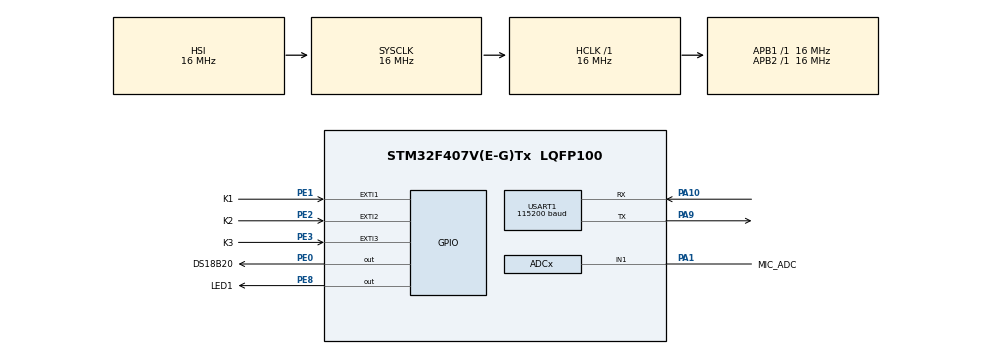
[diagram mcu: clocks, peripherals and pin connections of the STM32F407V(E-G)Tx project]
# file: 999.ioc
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FREERTOS.Tasks01=DataCollectTask,24,512,DataCollectTask,Default,NULL,Dynamic,NULL,NULL
FREERTOS.Tasks02=UartTask,32,384,UartTask,Default,NULL,Dynamic,NULL,NULL
FREERTOS.configCHECK_FOR_STACK_OVERFLOW=2
FREERTOS.configTOTAL_HEAP_SIZE=12288
FREERTOS.configUSE_COUNTING_SEMAPHORES=1
FREERTOS.configUSE_MALLOC_FAILED_HOOK=1
FREERTOS.configUSE_RECURSIVE_MUTEXES=1
Mcu.Family=STM32F4
Mcu.Name=STM32F407V(E-G)Tx
Mcu.Package=LQFP100
NVIC.EXTI15_10_IRQn=true\:5\:0\:true\:false\:true\:true\:true\:true
NVIC.EXTI1_IRQn=true\:5\:0\:true\:false\:true\:true\:true\:true
NVIC.EXTI2_IRQn=true\:5\:0\:true\:false\:true\:true\:true\:true
NVIC.EXTI3_IRQn=true\:5\:0\:true\:false\:true\:true\:true\:true
NVIC.PriorityGroup=NVIC_PRIORITYGROUP_4
NVIC.RTC_WKUP_IRQn=true\:5\:0\:true\:false\:true\:true\:true\:true
NVIC.USART1_IRQn=true\:5\:0\:true\:false\:true\:true\:true\:true
PA1.GPIO_Label=MIC_ADC
PA1.Mode=IN1
PA1.Signal=ADCx_IN1
PA10.Mode=Asynchronous
PA10.Signal=USART1_RX
PA9.Mode=Asynchronous
PA9.Signal=USART1_TX
PE0.GPIO_Label=DS18B20
PE0.GPIO_ModeDefaultOutputPP=GPIO_MODE_OUTPUT_OD
PE0.GPIO_PuPd=GPIO_PULLUP
PE0.Signal=GPIO_Output
PE1.GPIO_Label=K1
PE1.GPIO_PuPd=GPIO_PULLUP
PE1.Signal=GPXTI1
PE2.GPIO_Label=K2
PE2.GPIO_PuPd=GPIO_PULLUP
PE2.Signal=GPXTI2
PE3.GPIO_Label=K3
PE3.GPIO_PuPd=GPIO_PULLUP
PE3.Signal=GPXTI3
PE8.GPIO_Label=LED1
PE8.Signal=GPIO_Output
ProjectManager.HeapSize=0x200
ProjectManager.StackSize=0x400
ProjectManager.TargetToolchain=MDK-ARM V5.32
RCC.ADCFreq_Value=8000000
RCC.AHBFreq_Value=16000000
RCC.APB1Freq_Value=16000000
RCC.APB2Freq_Value=16000000
RCC.CortexFreq_Value=16000000
RCC.HSE_VALUE=25000000
RCC.HSI_VALUE=16000000
RCC.LSE_VALUE=32768
RCC.SYSCLKFreq_VALUE=16000000
RCC.VCOOutputFreq_Value=192000000
RTC.AsynchPrediv=127
RTC.HourFormat=RTC_HOURFORMAT_24
RTC.SynchPrediv=249
USART1.BaudRate=115200
USART1.Parity=UART_PARITY_NONE
USART1.StopBits=UART_STOPBITS_1
USART1.VirtualMode=VM_ASYNC
USART1.WordLength=UART_WORDLENGTH_8B
VP_FREERTOS_VS_CMSIS_V1.Mode=CMSIS_V1
VP_RTC_VS_RTC_Activate.Mode=RTC_Enabled
VP_RTC_VS_RTC_WakeUp_intern.Mode=WakeUp
board=custom

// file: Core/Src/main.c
/* USER CODE BEGIN Header */
/**
  ******************************************************************************
  * @file           : main.c
  * @brief          : Low power RTC wakeup and data acquisition demo
  ******************************************************************************
  * @attention
  *
  * Copyright (c) 2026 STMicroelectronics.
  * All rights reserved.
  *
  * This software is licensed under terms that can be found in the LICENSE file
  * in the root directory of this software component.
  * If no LICENSE file comes with this software, it is provided AS-IS.
  *
  ******************************************************************************
  */
/* USER CODE END Header */
#include "main.h"

/* USER CODE BEGIN Includes */
#include <stdio.h>
#include "FreeRTOS.h"
#include "task.h"
/* USER CODE END Includes */

/* USER CODE BEGIN PD */
#define AUDIO_SAMPLE_COUNT 128U
#define RTC_BKP_MAGIC 0x5050U
#define DS18B20_ERROR_TEMP (-1999.0f)
#define DS18B20_ERR_BUS_LOW (-1001.0f)
#define DS18B20_ERR_NO_PRESENCE (-1002.0f)
#define DS18B20_ERR_READ_ZERO (-1003.0f)
#define DS18B20_ERR_READ_FF (-1004.0f)
#define DS18B20_ERR_CRC (-1005.0f)
#define DS18B20_SCRATCHPAD_SIZE 9U
#define VOFA_OUTPUT_FIREWATER 1U
/* USER CODE END PD */

ADC_HandleTypeDef hadc1;
RTC_HandleTypeDef hrtc;
UART_HandleTypeDef huart1;

/* USER CODE BEGIN PV */
volatile uint32_t g_interval = 3U;
volatile uint8_t g_rtc_wakeup = 0U;
volatile uint8_t g_manual_stop = 0U;
uint16_t g_audio[AUDIO_SAMPLE_COUNT];
float g_temperature = DS18B20_ERROR_TEMP;
/* USER CODE END PV */

void SystemClock_Config(void);
static void MX_GPIO_Init(void);
static void MX_ADC1_Init(void);
static void MX_RTC_Init(void);
static void MX_USART1_UART_Init(void);
/* USER CODE BEGIN PFP */
void MX_FREERTOS_Init(void);
void App_OnRtcWakeupIrq(void);
void App_OnButtonIrq(uint16_t GPIO_Pin);
/* USER CODE END PFP */

/* USER CODE BEGIN 0 */
#if defined(__CC_ARM)
#pragma import(__use_no_semihosting)

struct __FILE
{
  int handle;
};

FILE __stdout;

void _sys_exit(int x)
{
  (void)x;
  while (1)
  {
  }
}

void _ttywrch(int ch)
{
  (void)ch;
}
#endif

#ifdef __GNUC__
int __io_putchar(int ch)
#else
int fputc(int ch, FILE *f)
#endif
{
  HAL_UART_Transmit(&huart1, (uint8_t *)&ch, 1U, HAL_MAX_DELAY);
  return ch;
}
/* USER CODE END 0 */

int main(void)
{

  /* MCU Configuration--------------------------------------------------------*/

  /* Reset of all peripherals, Initializes the Flash interface and the Systick. */
  HAL_Init();

  /* Configure the system clock */
  SystemClock_Config();

  /* Initialize all configured peripherals */
  MX_GPIO_Init();
  MX_ADC1_Init();
  MX_RTC_Init();
  MX_USART1_UART_Init();
  /* USER CODE BEGIN 2 */
  MX_FREERTOS_Init();
  vTaskStartScheduler();
  /* USER CODE END 2 */

  /* Infinite loop */
  while (1)
  {

    /* USER CODE BEGIN 3 */
    Error_Handler();
  }
  /* USER CODE END 3 */
}

void SystemClock_Config(void)
{
  RCC_OscInitTypeDef RCC_OscInitStruct = {0};
  RCC_ClkInitTypeDef RCC_ClkInitStruct = {0};
  RCC_PeriphCLKInitTypeDef PeriphClkInitStruct = {0};

  /** Configure the main internal regulator output voltage
  */
  __HAL_RCC_PWR_CLK_ENABLE();
  HAL_PWR_EnableBkUpAccess();
  __HAL_PWR_VOLTAGESCALING_CONFIG(PWR_REGULATOR_VOLTAGE_SCALE1);

  /** Initializes the RCC Oscillators according to the specified parameters
  * in the RCC_OscInitTypeDef structure.
  */
  RCC_OscInitStruct.OscillatorType = RCC_OSCILLATORTYPE_HSI|RCC_OSCILLATORTYPE_LSI;
  RCC_OscInitStruct.HSIState = RCC_HSI_ON;
  RCC_OscInitStruct.HSICalibrationValue = RCC_HSICALIBRATION_DEFAULT;
  RCC_OscInitStruct.LSIState = RCC_LSI_ON;
  RCC_OscInitStruct.PLL.PLLState = RCC_PLL_NONE;
  if (HAL_RCC_OscConfig(&RCC_OscInitStruct) != HAL_OK)
  {
    Error_Handler();
  }

  /** Initializes the CPU, AHB and APB buses clocks
  */
  RCC_ClkInitStruct.ClockType = RCC_CLOCKTYPE_HCLK|RCC_CLOCKTYPE_SYSCLK
                              |RCC_CLOCKTYPE_PCLK1|RCC_CLOCKTYPE_PCLK2;
  RCC_ClkInitStruct.SYSCLKSource = RCC_SYSCLKSOURCE_HSI;
  RCC_ClkInitStruct.AHBCLKDivider = RCC_SYSCLK_DIV1;
  RCC_ClkInitStruct.APB1CLKDivider = RCC_HCLK_DIV1;
  RCC_ClkInitStruct.APB2CLKDivider = RCC_HCLK_DIV1;

  if (HAL_RCC_ClockConfig(&RCC_ClkInitStruct, FLASH_LATENCY_0) != HAL_OK)
  {
    Error_Handler();
  }

  PeriphClkInitStruct.PeriphClockSelection = RCC_PERIPHCLK_RTC;
  PeriphClkInitStruct.RTCClockSelection = RCC_RTCCLKSOURCE_LSI;
  if (HAL_RCCEx_PeriphCLKConfig(&PeriphClkInitStruct) != HAL_OK)
  {
    Error_Handler();
  }
}

static void MX_ADC1_Init(void)
{
  ADC_ChannelConfTypeDef sConfig = {0};

  hadc1.Instance = ADC1;
  hadc1.Init.ClockPrescaler = ADC_CLOCK_SYNC_PCLK_DIV4;
  hadc1.Init.Resolution = ADC_RESOLUTION_12B;
  hadc1.Init.ScanConvMode = DISABLE;
  hadc1.Init.ContinuousConvMode = DISABLE;
  hadc1.Init.DiscontinuousConvMode = DISABLE;
  hadc1.Init.ExternalTrigConvEdge = ADC_EXTERNALTRIGCONVEDGE_NONE;
  hadc1.Init.ExternalTrigConv = ADC_SOFTWARE_START;
  hadc1.Init.DataAlign = ADC_DATAALIGN_RIGHT;
  hadc1.Init.NbrOfConversion = 1;
  hadc1.Init.DMAContinuousRequests = DISABLE;
  hadc1.Init.EOCSelection = ADC_EOC_SINGLE_CONV;
  if (HAL_ADC_Init(&hadc1) != HAL_OK)
  {
    Error_Handler();
  }

  sConfig.Channel = ADC_CHANNEL_1;
  sConfig.Rank = 1;
  sConfig.SamplingTime = ADC_SAMPLETIME_84CYCLES;
  if (HAL_ADC_ConfigChannel(&hadc1, &sConfig) != HAL_OK)
  {
    Error_Handler();
  }
}

static void MX_RTC_Init(void)
{
  RTC_TimeTypeDef sTime = {0};
  RTC_DateTypeDef sDate = {0};

  hrtc.Instance = RTC;
  hrtc.Init.HourFormat = RTC_HOURFORMAT_24;
  hrtc.Init.AsynchPrediv = 127;
  hrtc.Init.SynchPrediv = 249;
  hrtc.Init.OutPut = RTC_OUTPUT_DISABLE;
  hrtc.Init.OutPutPolarity = RTC_OUTPUT_POLARITY_HIGH;
  hrtc.Init.OutPutType = RTC_OUTPUT_TYPE_OPENDRAIN;
  if (HAL_RTC_Init(&hrtc) != HAL_OK)
  {
    Error_Handler();
  }

  if (HAL_RTCEx_BKUPRead(&hrtc, RTC_BKP_DR0) != RTC_BKP_MAGIC)
  {
    sTime.Hours = 10;
    sTime.Minutes = 50;
    sTime.Seconds = 0;
    sTime.DayLightSaving = RTC_DAYLIGHTSAVING_NONE;
    sTime.StoreOperation = RTC_STOREOPERATION_RESET;
    if (HAL_RTC_SetTime(&hrtc, &sTime, RTC_FORMAT_BIN) != HAL_OK)
    {
      Error_Handler();
    }

    sDate.WeekDay = RTC_WEEKDAY_MONDAY;
    sDate.Month = RTC_MONTH_MAY;
    sDate.Date = 11;
    sDate.Year = 26;
    if (HAL_RTC_SetDate(&hrtc, &sDate, RTC_FORMAT_BIN) != HAL_OK)
    {
      Error_Handler();
    }

    HAL_RTCEx_BKUPWrite(&hrtc, RTC_BKP_DR0, RTC_BKP_MAGIC);
  }
}

static void MX_USART1_UART_Init(void)
{
  huart1.Instance = USART1;
  huart1.Init.BaudRate = 115200;
  huart1.Init.WordLength = UART_WORDLENGTH_8B;
  huart1.Init.StopBits = UART_STOPBITS_1;
  huart1.Init.Parity = UART_PARITY_NONE;
  huart1.Init.Mode = UART_MODE_TX_RX;
  huart1.Init.HwFlowCtl = UART_HWCONTROL_NONE;
  huart1.Init.OverSampling = UART_OVERSAMPLING_16;
  if (HAL_UART_Init(&huart1) != HAL_OK)
  {
    Error_Handler();
  }
}

static void MX_GPIO_Init(void)
{
  GPIO_InitTypeDef GPIO_InitStruct = {0};

  __HAL_RCC_GPIOA_CLK_ENABLE();
  __HAL_RCC_GPIOE_CLK_ENABLE();

  HAL_GPIO_WritePin(LED1_GPIO_Port, LED1_Pin, GPIO_PIN_RESET);
  HAL_GPIO_WritePin(DS18B20_GPIO_Port, DS18B20_Pin, GPIO_PIN_SET);

  GPIO_InitStruct.Pin = DS18B20_Pin;
  GPIO_InitStruct.Mode = GPIO_MODE_OUTPUT_OD;
  GPIO_InitStruct.Pull = GPIO_PULLUP;
  GPIO_InitStruct.Speed = GPIO_SPEED_FREQ_LOW;
  HAL_GPIO_Init(DS18B20_GPIO_Port, &GPIO_InitStruct);

  GPIO_InitStruct.Pin = LED1_Pin;
  GPIO_InitStruct.Mode = GPIO_MODE_OUTPUT_PP;
  GPIO_InitStruct.Pull = GPIO_NOPULL;
  GPIO_InitStruct.Speed = GPIO_SPEED_FREQ_LOW;
  HAL_GPIO_Init(LED1_GPIO_Port, &GPIO_InitStruct);

  GPIO_InitStruct.Pin = K1_Pin|K2_Pin|K3_Pin;
  GPIO_InitStruct.Mode = GPIO_MODE_IT_FALLING;
  GPIO_InitStruct.Pull = GPIO_PULLUP;
  HAL_GPIO_Init(GPIOE, &GPIO_InitStruct);

  HAL_NVIC_SetPriority(EXTI1_IRQn, 5, 0);
  HAL_NVIC_EnableIRQ(EXTI1_IRQn);
  HAL_NVIC_SetPriority(EXTI2_IRQn, 5, 0);
  HAL_NVIC_EnableIRQ(EXTI2_IRQn);
  HAL_NVIC_SetPriority(EXTI3_IRQn, 5, 0);
  HAL_NVIC_EnableIRQ(EXTI3_IRQn);
}

/* USER CODE BEGIN 4 */
#if 0
/* Legacy bare-metal implementation kept only as migration reference. */
static void DWT_Delay_Init(void)
{
  CoreDebug->DEMCR |= CoreDebug_DEMCR_TRCENA_Msk;
  DWT->CYCCNT = 0U;
  DWT->CTRL |= DWT_CTRL_CYCCNTENA_Msk;
}

static void Delay_us(uint32_t us)
{
  uint32_t start = DWT->CYCCNT;
  uint32_t ticks = us * (SystemCoreClock / 1000000U);

  while ((DWT->CYCCNT - start) < ticks)
  {
  }
}

static void DS18B20_Pin_Output(void)
{
  GPIO_InitTypeDef GPIO_InitStruct = {0};

  HAL_GPIO_WritePin(DS18B20_GPIO_Port, DS18B20_Pin, GPIO_PIN_SET);
  GPIO_InitStruct.Pin = DS18B20_Pin;
  GPIO_InitStruct.Mode = GPIO_MODE_OUTPUT_OD;
  GPIO_InitStruct.Pull = GPIO_PULLUP;
  GPIO_InitStruct.Speed = GPIO_SPEED_FREQ_HIGH;
  HAL_GPIO_Init(DS18B20_GPIO_Port, &GPIO_InitStruct);
}

static void DS18B20_ReleaseBus(void)
{
  HAL_GPIO_WritePin(DS18B20_GPIO_Port, DS18B20_Pin, GPIO_PIN_SET);
}

static float DS18B20_ResetError(void)
{
  DS18B20_ReleaseBus();
  Delay_us(5);
  if (HAL_GPIO_ReadPin(DS18B20_GPIO_Port, DS18B20_Pin) == GPIO_PIN_RESET)
  {
    return DS18B20_ERR_BUS_LOW;
  }

  DS18B20_Pin_Output();
  HAL_GPIO_WritePin(DS18B20_GPIO_Port, DS18B20_Pin, GPIO_PIN_RESET);
  Delay_us(480);
  DS18B20_ReleaseBus();
  Delay_us(70);
  if (HAL_GPIO_ReadPin(DS18B20_GPIO_Port, DS18B20_Pin) == GPIO_PIN_SET)
  {
    Delay_us(410);
    return DS18B20_ERR_NO_PRESENCE;
  }

  Delay_us(410);
  if (HAL_GPIO_ReadPin(DS18B20_GPIO_Port, DS18B20_Pin) == GPIO_PIN_RESET)
  {
    return DS18B20_ERR_BUS_LOW;
  }

  return 0.0f;
}

static void DS18B20_WriteBit(uint8_t bit)
{
  DS18B20_Pin_Output();
  HAL_GPIO_WritePin(DS18B20_GPIO_Port, DS18B20_Pin, GPIO_PIN_RESET);

  if (bit != 0U)
  {
    Delay_us(6);
    DS18B20_ReleaseBus();
    Delay_us(64);
  }
  else
  {
    Delay_us(60);
    DS18B20_ReleaseBus();
    Delay_us(10);
  }
}

static uint8_t DS18B20_ReadBit(void)
{
  uint8_t bit;

  DS18B20_Pin_Output();
  HAL_GPIO_WritePin(DS18B20_GPIO_Port, DS18B20_Pin, GPIO_PIN_RESET);
  Delay_us(6);
  DS18B20_ReleaseBus();
  Delay_us(9);
  bit = (HAL_GPIO_ReadPin(DS18B20_GPIO_Port, DS18B20_Pin) == GPIO_PIN_SET);
  Delay_us(55);

  return bit;
}

static void DS18B20_WriteByte(uint8_t data)
{
  uint8_t i;

  for (i = 0U; i < 8U; i++)
  {
    DS18B20_WriteBit(data & 0x01U);
    data >>= 1;
  }
}

static uint8_t DS18B20_ReadByte(void)
{
  uint8_t i;
  uint8_t data = 0U;

  for (i = 0U; i < 8U; i++)
  {
    data >>= 1;
    if (DS18B20_ReadBit() != 0U)
    {
      data |= 0x80U;
    }
  }

  return data;
}

static uint8_t DS18B20_Crc8(const uint8_t *data, uint8_t len)
{
  uint8_t crc = 0U;
  uint8_t i;

  while (len-- != 0U)
  {
    uint8_t inbyte = *data++;
    for (i = 0U; i < 8U; i++)
    {
      uint8_t mix = (crc ^ inbyte) & 0x01U;
      crc >>= 1;
      if (mix != 0U)
      {
        crc ^= 0x8CU;
      }
      inbyte >>= 1;
    }
  }

  return crc;
}

static float DS18B20_GetTemp(void)
{
  uint8_t scratchpad[DS18B20_SCRATCHPAD_SIZE];
  uint8_t i;
  uint8_t all_zero = 1U;
  uint8_t all_ff = 1U;
  int16_t raw;
  float reset_error;

  reset_error = DS18B20_ResetError();
  if (reset_error < 0.0f)
  {
    return reset_error;
  }

  DS18B20_WriteByte(0xCCU);
  DS18B20_WriteByte(0x44U);
  HAL_Delay(750);

  reset_error = DS18B20_ResetError();
  if (reset_error < 0.0f)
  {
    return reset_error;
  }

  DS18B20_WriteByte(0xCCU);
  DS18B20_WriteByte(0xBEU);
  for (i = 0U; i < DS18B20_SCRATCHPAD_SIZE; i++)
  {
    scratchpad[i] = DS18B20_ReadByte();
    if (scratchpad[i] != 0x00U)
    {
      all_zero = 0U;
    }
    if (scratchpad[i] != 0xFFU)
    {
      all_ff = 0U;
    }
  }

  if ((all_zero != 0U) || (all_ff != 0U) ||
      (DS18B20_Crc8(scratchpad, DS18B20_SCRATCHPAD_SIZE - 1U) != scratchpad[8]))
  {
    if (all_zero != 0U)
    {
      return DS18B20_ERR_READ_ZERO;
    }
    if (all_ff != 0U)
    {
      return DS18B20_ERR_READ_FF;
    }
    return DS18B20_ERR_CRC;
  }

  raw = (int16_t)((uint16_t)scratchpad[1] << 8 | scratchpad[0]);

  return (float)raw * 0.0625f;
}

static uint16_t ADC1_ReadOnce(void)
{
  uint16_t value = 0U;

  if (HAL_ADC_Start(&hadc1) == HAL_OK)
  {
    if (HAL_ADC_PollForConversion(&hadc1, 10U) == HAL_OK)
    {
      value = (uint16_t)HAL_ADC_GetValue(&hadc1);
    }
  }
  HAL_ADC_Stop(&hadc1);

  return value;
}

static void Collect_Audio(void)
{
  uint32_t i;

  for (i = 0U; i < AUDIO_SAMPLE_COUNT; i++)
  {
    g_audio[i] = ADC1_ReadOnce();
  }
}

static void Print_SignedTenths(int32_t value10)
{
  if (value10 < 0)
  {
    printf("-%ld.%ld", (-value10) / 10L, (-value10) % 10L);
  }
  else
  {
    printf("%ld.%ld", value10 / 10L, value10 % 10L);
  }
}

static void Print_Data(void)
{
  uint32_t i;
#if VOFA_OUTPUT_FIREWATER != 0U
  uint32_t sum = 0U;
  uint16_t min_value = 0xFFFFU;
  uint16_t max_value = 0U;
  int32_t temp10;

  for (i = 0U; i < AUDIO_SAMPLE_COUNT; i++)
  {
    uint16_t value = g_audio[i];

    sum += value;
    if (value < min_value)
    {
      min_value = value;
    }
    if (value > max_value)
    {
      max_value = value;
    }
  }

  temp10 = (int32_t)(g_temperature * 10.0f);
  Print_SignedTenths(temp10);
  printf(",%lu,%u,%u,%lu\r\n",
         sum / AUDIO_SAMPLE_COUNT,
         min_value,
         max_value,
         g_interval);
#else
  RTC_TimeTypeDef time = {0};
  RTC_DateTypeDef date = {0};

  HAL_RTC_GetTime(&hrtc, &time, RTC_FORMAT_BIN);
  HAL_RTC_GetDate(&hrtc, &date, RTC_FORMAT_BIN);

  printf("\r\nTime: %02u:%02u:%02u\r\n", time.Hours, time.Minutes, time.Seconds);
  printf("Interval: %lus\r\n", g_interval);

  if (g_temperature <= (DS18B20_ERROR_TEMP + 0.1f))
  {
    printf("Temp: DS18B20 error\r\n");
  }
  else
  {
    int32_t temp10 = (int32_t)(g_temperature * 10.0f);
    printf("Temp: ");
    Print_SignedTenths(temp10);
    printf(" C\r\n");
  }

  printf("ADC[0..127]:");
  for (i = 0U; i < AUDIO_SAMPLE_COUNT; i++)
  {
    printf(" %u", g_audio[i]);
  }
  printf("\r\n");
#endif
}

static void Set_RTC_Wakeup(uint32_t seconds)
{
  if (seconds < 1U)
  {
    seconds = 1U;
  }
  else if (seconds > 60U)
  {
    seconds = 60U;
  }

  HAL_RTCEx_DeactivateWakeUpTimer(&hrtc);
  if (HAL_RTCEx_SetWakeUpTimer_IT(&hrtc, seconds - 1U, RTC_WAKEUPCLOCK_CK_SPRE_16BITS) != HAL_OK)
  {
    Error_Handler();
  }
}

static void Enter_Stop_Mode(void)
{
  Set_RTC_Wakeup(g_interval);

  while (__HAL_UART_GET_FLAG(&huart1, UART_FLAG_TC) == RESET)
  {
  }

  g_rtc_wakeup = 0U;
  __HAL_PWR_CLEAR_FLAG(PWR_FLAG_WU);
  HAL_SuspendTick();
  HAL_PWR_EnterSTOPMode(PWR_LOWPOWERREGULATOR_ON, PWR_STOPENTRY_WFI);
  SystemClock_Config();
  HAL_ResumeTick();
  DWT_Delay_Init();
}
#endif

void HAL_RTCEx_WakeUpTimerEventCallback(RTC_HandleTypeDef *hrtc_arg)
{
  if (hrtc_arg->Instance == RTC)
  {
    App_OnRtcWakeupIrq();
  }
}

void HAL_GPIO_EXTI_Callback(uint16_t GPIO_Pin)
{
  if ((GPIO_Pin == K1_Pin) || (GPIO_Pin == K2_Pin) || (GPIO_Pin == K3_Pin))
  {
    App_OnButtonIrq(GPIO_Pin);
  }
}
/* USER CODE END 4 */

void Error_Handler(void)
{
  /* USER CODE BEGIN Error_Handler_Debug */
  volatile uint32_t i;

  __disable_irq();
  while (1)
  {
    HAL_GPIO_TogglePin(LED1_GPIO_Port, LED1_Pin);
    for (i = 0U; i < 300000U; i++)
    {
    }
  }
  /* USER CODE END Error_Handler_Debug */
}

#ifdef USE_FULL_ASSERT
/**
  * @brief  Reports the name of the source file and the source line number
  *         where the assert_param error has occurred.
  * @param  file: pointer to the source file name
  * @param  line: assert_param error line source number
  * @retval None
  */
void assert_failed(uint8_t *file, uint32_t line)
{
  /* USER CODE BEGIN 6 */
  (void)file;
  (void)line;
  /* USER CODE END 6 */
}
#endif /* USE_FULL_ASSERT */

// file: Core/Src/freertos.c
/* USER CODE BEGIN Header */
/**
  ******************************************************************************
  * @file    freertos.c
  * @brief   FreeRTOS tasks for low power temperature and audio collection.
  ******************************************************************************
  */
/* USER CODE END Header */

#include "main.h"

#include "FreeRTOS.h"
#include "queue.h"
#include "semphr.h"
#include "task.h"

#include <ctype.h>
#include <stdio.h>
#include <stdlib.h>
#include <string.h>

extern ADC_HandleTypeDef hadc1;
extern RTC_HandleTypeDef hrtc;
extern UART_HandleTypeDef huart1;
extern void SystemClock_Config(void);

#define AUDIO_SAMPLE_COUNT      128U
#define INTERVAL_MIN_SEC        1U
#define INTERVAL_MAX_SEC        60U
#define UART_LINE_MAX           32U
#define UART_CMD_IDLE_TIMEOUT_MS 100U

#define DS18B20_ERROR_TEMP      (-1999.0f)
#define DS18B20_ERR_BUS_LOW     (-1001.0f)
#define DS18B20_ERR_NO_PRESENCE (-1002.0f)
#define DS18B20_ERR_READ_ZERO   (-1003.0f)
#define DS18B20_ERR_READ_FF     (-1004.0f)
#define DS18B20_ERR_CRC         (-1005.0f)
#define DS18B20_SCRATCHPAD_SIZE 9U

volatile uint32_t g_interval_sec = 3U;

static TaskHandle_t g_data_task_handle;
static TaskHandle_t g_uart_task_handle;
static QueueHandle_t g_uart_rx_queue;
static SemaphoreHandle_t g_uart_tx_mutex;
static uint8_t g_uart_rx_byte;
static uint16_t g_audio[AUDIO_SAMPLE_COUNT];
static float g_temperature = DS18B20_ERROR_TEMP;

static void DataCollectTask(void *argument);
static void UartTask(void *argument);
static void DWT_Delay_Init(void);
static void Delay_us(uint32_t us);
static void DS18B20_Pin_Output(void);
static void DS18B20_ReleaseBus(void);
static void DS18B20_WriteBit(uint8_t bit);
static uint8_t DS18B20_ReadBit(void);
static void DS18B20_WriteByte(uint8_t data);
static uint8_t DS18B20_ReadByte(void);
static uint8_t DS18B20_Crc8(const uint8_t *data, uint8_t len);
static float DS18B20_ResetError(void);
static float DS18B20_GetTemp(void);
static uint16_t ADC1_ReadOnce(void);
static void Collect_Audio(void);
static void Print_SignedTenths(int32_t value10);
static void Print_Data(void);
static void Enter_Stop_Mode(void);
static void Set_RTC_Wakeup(uint32_t seconds);
static uint32_t Get_Interval(void);
static void Set_Interval(uint32_t seconds);
static void Start_Uart_Rx_IT(void);
static void Configure_Uart_Rx_EXTI_Wakeup(void);
static void Process_Uart_Command(char *line);

void MX_FREERTOS_Init(void)
{
  DWT_Delay_Init();

  g_uart_rx_queue = xQueueCreate(64U, sizeof(uint8_t));
  g_uart_tx_mutex = xSemaphoreCreateMutex();

  if ((g_uart_rx_queue == NULL) || (g_uart_tx_mutex == NULL))
  {
    Error_Handler();
  }

  if (xTaskCreate(DataCollectTask, "DataCollect", 512U, NULL,
                  tskIDLE_PRIORITY + 2U, &g_data_task_handle) != pdPASS)
  {
    Error_Handler();
  }

  if (xTaskCreate(UartTask, "UartTask", 384U, NULL,
                  tskIDLE_PRIORITY + 3U, &g_uart_task_handle) != pdPASS)
  {
    Error_Handler();
  }

  Configure_Uart_Rx_EXTI_Wakeup();
  Start_Uart_Rx_IT();
}

static void DataCollectTask(void *argument)
{
  (void)argument;

  for (;;)
  {
    HAL_GPIO_WritePin(LED1_GPIO_Port, LED1_Pin, GPIO_PIN_SET);

    g_temperature = DS18B20_GetTemp();
    Collect_Audio();
    Print_Data();

    HAL_GPIO_WritePin(LED1_GPIO_Port, LED1_Pin, GPIO_PIN_RESET);
    Enter_Stop_Mode();
  }
}

static void UartTask(void *argument)
{
  uint8_t ch;
  char line[UART_LINE_MAX];
  uint32_t len = 0U;
  TickType_t wait_ticks = portMAX_DELAY;

  (void)argument;

  for (;;)
  {
    if (xQueueReceive(g_uart_rx_queue, &ch, wait_ticks) == pdPASS)
    {
      if ((ch == '\r') || (ch == '\n'))
      {
        if (len > 0U)
        {
          line[len] = '\0';
          Process_Uart_Command(line);
          len = 0U;
          wait_ticks = portMAX_DELAY;
        }
      }
      else if (len < (UART_LINE_MAX - 1U))
      {
        line[len++] = (char)ch;
        wait_ticks = pdMS_TO_TICKS(UART_CMD_IDLE_TIMEOUT_MS);
      }
      else
      {
        len = 0U;
        wait_ticks = portMAX_DELAY;
        if (xSemaphoreTake(g_uart_tx_mutex, portMAX_DELAY) == pdPASS)
        {
          printf("ERR unknown cmd\r\n");
          xSemaphoreGive(g_uart_tx_mutex);
        }
      }
    }
    else if (len > 0U)
    {
      line[len] = '\0';
      Process_Uart_Command(line);
      len = 0U;
      wait_ticks = portMAX_DELAY;
    }
  }
}

static void DWT_Delay_Init(void)
{
  CoreDebug->DEMCR |= CoreDebug_DEMCR_TRCENA_Msk;
  DWT->CYCCNT = 0U;
  DWT->CTRL |= DWT_CTRL_CYCCNTENA_Msk;
}

static void Delay_us(uint32_t us)
{
  uint32_t start = DWT->CYCCNT;
  uint32_t ticks = us * (SystemCoreClock / 1000000U);

  while ((DWT->CYCCNT - start) < ticks)
  {
  }
}

static void DS18B20_Pin_Output(void)
{
  GPIO_InitTypeDef GPIO_InitStruct = {0};

  HAL_GPIO_WritePin(DS18B20_GPIO_Port, DS18B20_Pin, GPIO_PIN_SET);
  GPIO_InitStruct.Pin = DS18B20_Pin;
  GPIO_InitStruct.Mode = GPIO_MODE_OUTPUT_OD;
  GPIO_InitStruct.Pull = GPIO_PULLUP;
  GPIO_InitStruct.Speed = GPIO_SPEED_FREQ_HIGH;
  HAL_GPIO_Init(DS18B20_GPIO_Port, &GPIO_InitStruct);
}

static void DS18B20_ReleaseBus(void)
{
  HAL_GPIO_WritePin(DS18B20_GPIO_Port, DS18B20_Pin, GPIO_PIN_SET);
}

static float DS18B20_ResetError(void)
{
  DS18B20_ReleaseBus();
  Delay_us(5U);
  if (HAL_GPIO_ReadPin(DS18B20_GPIO_Port, DS18B20_Pin) == GPIO_PIN_RESET)
  {
    return DS18B20_ERR_BUS_LOW;
  }

  DS18B20_Pin_Output();
  HAL_GPIO_WritePin(DS18B20_GPIO_Port, DS18B20_Pin, GPIO_PIN_RESET);
  Delay_us(480U);
  DS18B20_ReleaseBus();
  Delay_us(70U);
  if (HAL_GPIO_ReadPin(DS18B20_GPIO_Port, DS18B20_Pin) == GPIO_PIN_SET)
  {
    Delay_us(410U);
    return DS18B20_ERR_NO_PRESENCE;
  }

  Delay_us(410U);
  if (HAL_GPIO_ReadPin(DS18B20_GPIO_Port, DS18B20_Pin) == GPIO_PIN_RESET)
  {
    return DS18B20_ERR_BUS_LOW;
  }

  return 0.0f;
}

static void DS18B20_WriteBit(uint8_t bit)
{
  DS18B20_Pin_Output();
  HAL_GPIO_WritePin(DS18B20_GPIO_Port, DS18B20_Pin, GPIO_PIN_RESET);

  if (bit != 0U)
  {
    Delay_us(6U);
    DS18B20_ReleaseBus();
    Delay_us(64U);
  }
  else
  {
    Delay_us(60U);
    DS18B20_ReleaseBus();
    Delay_us(10U);
  }
}

static uint8_t DS18B20_ReadBit(void)
{
  uint8_t bit;

  DS18B20_Pin_Output();
  HAL_GPIO_WritePin(DS18B20_GPIO_Port, DS18B20_Pin, GPIO_PIN_RESET);
  Delay_us(6U);
  DS18B20_ReleaseBus();
  Delay_us(9U);
  bit = (uint8_t)(HAL_GPIO_ReadPin(DS18B20_GPIO_Port, DS18B20_Pin) == GPIO_PIN_SET);
  Delay_us(55U);

  return bit;
}

static void DS18B20_WriteByte(uint8_t data)
{
  uint8_t i;

  for (i = 0U; i < 8U; i++)
  {
    DS18B20_WriteBit(data & 0x01U);
    data >>= 1;
  }
}

static uint8_t DS18B20_ReadByte(void)
{
  uint8_t i;
  uint8_t data = 0U;

  for (i = 0U; i < 8U; i++)
  {
    data >>= 1;
    if (DS18B20_ReadBit() != 0U)
    {
      data |= 0x80U;
    }
  }

  return data;
}

static uint8_t DS18B20_Crc8(const uint8_t *data, uint8_t len)
{
  uint8_t crc = 0U;
  uint8_t i;

  while (len-- != 0U)
  {
    uint8_t inbyte = *data++;
    for (i = 0U; i < 8U; i++)
    {
      uint8_t mix = (crc ^ inbyte) & 0x01U;
      crc >>= 1;
      if (mix != 0U)
      {
        crc ^= 0x8CU;
      }
      inbyte >>= 1;
    }
  }

  return crc;
}

static float DS18B20_GetTemp(void)
{
  uint8_t scratchpad[DS18B20_SCRATCHPAD_SIZE];
  uint8_t i;
  uint8_t all_zero = 1U;
  uint8_t all_ff = 1U;
  int16_t raw;
  float reset_error;

  reset_error = DS18B20_ResetError();
  if (reset_error < 0.0f)
  {
    return reset_error;
  }

  DS18B20_WriteByte(0xCCU);
  DS18B20_WriteByte(0x44U);
  vTaskDelay(pdMS_TO_TICKS(750U));

  reset_error = DS18B20_ResetError();
  if (reset_error < 0.0f)
  {
    return reset_error;
  }

  DS18B20_WriteByte(0xCCU);
  DS18B20_WriteByte(0xBEU);
  for (i = 0U; i < DS18B20_SCRATCHPAD_SIZE; i++)
  {
    scratchpad[i] = DS18B20_ReadByte();
    if (scratchpad[i] != 0x00U)
    {
      all_zero = 0U;
    }
    if (scratchpad[i] != 0xFFU)
    {
      all_ff = 0U;
    }
  }

  if ((all_zero != 0U) || (all_ff != 0U) ||
      (DS18B20_Crc8(scratchpad, DS18B20_SCRATCHPAD_SIZE - 1U) != scratchpad[8]))
  {
    if (all_zero != 0U)
    {
      return DS18B20_ERR_READ_ZERO;
    }
    if (all_ff != 0U)
    {
      return DS18B20_ERR_READ_FF;
    }
    return DS18B20_ERR_CRC;
  }

  raw = (int16_t)((uint16_t)scratchpad[1] << 8 | scratchpad[0]);
  return (float)raw * 0.0625f;
}

static uint16_t ADC1_ReadOnce(void)
{
  uint16_t value = 0U;

  if (HAL_ADC_Start(&hadc1) == HAL_OK)
  {
    if (HAL_ADC_PollForConversion(&hadc1, 10U) == HAL_OK)
    {
      value = (uint16_t)HAL_ADC_GetValue(&hadc1);
    }
  }
  HAL_ADC_Stop(&hadc1);

  return value;
}

static void Collect_Audio(void)
{
  uint32_t i;

  for (i = 0U; i < AUDIO_SAMPLE_COUNT; i++)
  {
    g_audio[i] = ADC1_ReadOnce();
  }
}

static void Print_SignedTenths(int32_t value10)
{
  if (value10 < 0)
  {
    printf("-%ld.%ld", (-value10) / 10L, (-value10) % 10L);
  }
  else
  {
    printf("%ld.%ld", value10 / 10L, value10 % 10L);
  }
}

static void Print_Data(void)
{
  RTC_TimeTypeDef time = {0};
  RTC_DateTypeDef date = {0};
  uint32_t i;

  HAL_RTC_GetTime(&hrtc, &time, RTC_FORMAT_BIN);
  HAL_RTC_GetDate(&hrtc, &date, RTC_FORMAT_BIN);

  if (xSemaphoreTake(g_uart_tx_mutex, portMAX_DELAY) == pdPASS)
  {
    printf("\r\nRTC: 20%02u-%02u-%02u %02u:%02u:%02u\r\n",
           date.Year, date.Month, date.Date,
           time.Hours, time.Minutes, time.Seconds);
    printf("Interval: %lus\r\n", Get_Interval());

    if (g_temperature <= (DS18B20_ERROR_TEMP + 0.1f))
    {
      printf("Temp error: ");
      Print_SignedTenths((int32_t)(g_temperature * 10.0f));
      printf("\r\n");
    }
    else
    {
      printf("Temp: ");
      Print_SignedTenths((int32_t)(g_temperature * 10.0f));
      printf(" C\r\n");
    }

    printf("MIC[0..127]:");
    for (i = 0U; i < AUDIO_SAMPLE_COUNT; i++)
    {
      printf(" %u", g_audio[i]);
    }
    printf("\r\n");

    xSemaphoreGive(g_uart_tx_mutex);
  }
}

static void Set_RTC_Wakeup(uint32_t seconds)
{
  if (seconds < INTERVAL_MIN_SEC)
  {
    seconds = INTERVAL_MIN_SEC;
  }
  else if (seconds > INTERVAL_MAX_SEC)
  {
    seconds = INTERVAL_MAX_SEC;
  }

  HAL_RTCEx_DeactivateWakeUpTimer(&hrtc);
  if (HAL_RTCEx_SetWakeUpTimer_IT(&hrtc, seconds - 1U,
                                  RTC_WAKEUPCLOCK_CK_SPRE_16BITS) != HAL_OK)
  {
    Error_Handler();
  }
}

static void Enter_Stop_Mode(void)
{
  Set_RTC_Wakeup(Get_Interval());
  Start_Uart_Rx_IT();

  while (__HAL_UART_GET_FLAG(&huart1, UART_FLAG_TC) == RESET)
  {
  }

  __HAL_PWR_CLEAR_FLAG(PWR_FLAG_WU);
  HAL_SuspendTick();
  HAL_PWR_EnterSTOPMode(PWR_LOWPOWERREGULATOR_ON, PWR_STOPENTRY_WFI);
  SystemClock_Config();
  HAL_ResumeTick();
  DWT_Delay_Init();
  Start_Uart_Rx_IT();
}

static uint32_t Get_Interval(void)
{
  uint32_t value;

  taskENTER_CRITICAL();
  value = g_interval_sec;
  taskEXIT_CRITICAL();

  return value;
}

static void Set_Interval(uint32_t seconds)
{
  if (seconds < INTERVAL_MIN_SEC)
  {
    seconds = INTERVAL_MIN_SEC;
  }
  else if (seconds > INTERVAL_MAX_SEC)
  {
    seconds = INTERVAL_MAX_SEC;
  }

  taskENTER_CRITICAL();
  g_interval_sec = seconds;
  taskEXIT_CRITICAL();
}

static void Start_Uart_Rx_IT(void)
{
  if (huart1.RxState == HAL_UART_STATE_READY)
  {
    (void)HAL_UART_Receive_IT(&huart1, &g_uart_rx_byte, 1U);
  }
}

static void Configure_Uart_Rx_EXTI_Wakeup(void)
{
  __HAL_RCC_SYSCFG_CLK_ENABLE();

  SYSCFG->EXTICR[2] &= ~SYSCFG_EXTICR3_EXTI10;
  SYSCFG->EXTICR[2] |= SYSCFG_EXTICR3_EXTI10_PA;

  __HAL_GPIO_EXTI_CLEAR_IT(GPIO_PIN_10);
  EXTI->IMR |= GPIO_PIN_10;
  EXTI->FTSR |= GPIO_PIN_10;
  EXTI->RTSR &= ~GPIO_PIN_10;

  HAL_NVIC_SetPriority(EXTI15_10_IRQn, 5U, 0U);
  HAL_NVIC_EnableIRQ(EXTI15_10_IRQn);
}

static void Process_Uart_Command(char *line)
{
  char cmd[UART_LINE_MAX];
  char *arg;
  uint32_t i;
  long value;

  for (i = 0U; (i < (UART_LINE_MAX - 1U)) && (line[i] != '\0'); i++)
  {
    cmd[i] = (char)toupper((unsigned char)line[i]);
  }
  cmd[i] = '\0';

  if (strcmp(cmd, "GET") == 0)
  {
    if (xSemaphoreTake(g_uart_tx_mutex, portMAX_DELAY) == pdPASS)
    {
      printf("OK interval=%lus\r\n", Get_Interval());
      xSemaphoreGive(g_uart_tx_mutex);
    }
    return;
  }

  if (strncmp(cmd, "SET", 3U) == 0)
  {
    arg = &cmd[3];
  }
  else if (strncmp(cmd, "ET", 2U) == 0)
  {
    arg = &cmd[2];
  }
  else if (strncmp(cmd, "INT", 3U) == 0)
  {
    arg = &cmd[3];
  }
  else if (strncmp(cmd, "NT", 2U) == 0)
  {
    arg = &cmd[2];
  }
  else
  {
    if (xSemaphoreTake(g_uart_tx_mutex, portMAX_DELAY) == pdPASS)
    {
      printf("ERR unknown cmd\r\n");
      xSemaphoreGive(g_uart_tx_mutex);
    }
    return;
  }

  while ((*arg == ' ') || (*arg == '=') || (*arg == '\t'))
  {
    arg++;
  }

  if ((*arg < '0') || (*arg > '9'))
  {
    if (xSemaphoreTake(g_uart_tx_mutex, portMAX_DELAY) == pdPASS)
    {
      printf("ERR unknown cmd\r\n");
      xSemaphoreGive(g_uart_tx_mutex);
    }
    return;
  }

  value = strtol(arg, NULL, 10);
  if ((value < (long)INTERVAL_MIN_SEC) || (value > (long)INTERVAL_MAX_SEC))
  {
    if (xSemaphoreTake(g_uart_tx_mutex, portMAX_DELAY) == pdPASS)
    {
      printf("ERR range 1-60\r\n");
      xSemaphoreGive(g_uart_tx_mutex);
    }
    return;
  }

  Set_Interval((uint32_t)value);
  Set_RTC_Wakeup((uint32_t)value);

  if (g_data_task_handle != NULL)
  {
    xTaskNotifyGive(g_data_task_handle);
  }

  if (xSemaphoreTake(g_uart_tx_mutex, portMAX_DELAY) == pdPASS)
  {
    printf("OK interval=%lds\r\n", value);
    xSemaphoreGive(g_uart_tx_mutex);
  }
}

void App_OnRtcWakeupIrq(void)
{
  BaseType_t higher_priority_task_woken = pdFALSE;

  if (g_data_task_handle != NULL)
  {
    vTaskNotifyGiveFromISR(g_data_task_handle, &higher_priority_task_woken);
    portYIELD_FROM_ISR(higher_priority_task_woken);
  }
}

void App_OnButtonIrq(uint16_t GPIO_Pin)
{
  BaseType_t higher_priority_task_woken = pdFALSE;

  if (GPIO_Pin == K1_Pin)
  {
    if (g_interval_sec < INTERVAL_MAX_SEC)
    {
      g_interval_sec++;
    }
  }
  else if (GPIO_Pin == K2_Pin)
  {
    if (g_interval_sec > INTERVAL_MIN_SEC)
    {
      g_interval_sec--;
    }
  }

  if (g_data_task_handle != NULL)
  {
    vTaskNotifyGiveFromISR(g_data_task_handle, &higher_priority_task_woken);
    portYIELD_FROM_ISR(higher_priority_task_woken);
  }
}

void App_OnUartRxWakeIrq(void)
{
  BaseType_t higher_priority_task_woken = pdFALSE;

  if (g_data_task_handle != NULL)
  {
    vTaskNotifyGiveFromISR(g_data_task_handle, &higher_priority_task_woken);
    portYIELD_FROM_ISR(higher_priority_task_woken);
  }
}

void HAL_UART_RxCpltCallback(UART_HandleTypeDef *huart)
{
  BaseType_t higher_priority_task_woken = pdFALSE;

  if (huart->Instance == USART1)
  {
    if (g_uart_rx_queue != NULL)
    {
      (void)xQueueSendFromISR(g_uart_rx_queue, &g_uart_rx_byte,
                              &higher_priority_task_woken);
    }
    (void)HAL_UART_Receive_IT(&huart1, &g_uart_rx_byte, 1U);
    portYIELD_FROM_ISR(higher_priority_task_woken);
  }
}

void vApplicationMallocFailedHook(void)
{
  Error_Handler();
}

void vApplicationStackOverflowHook(TaskHandle_t xTask, char *pcTaskName)
{
  (void)xTask;
  (void)pcTaskName;
  Error_Handler();
}
